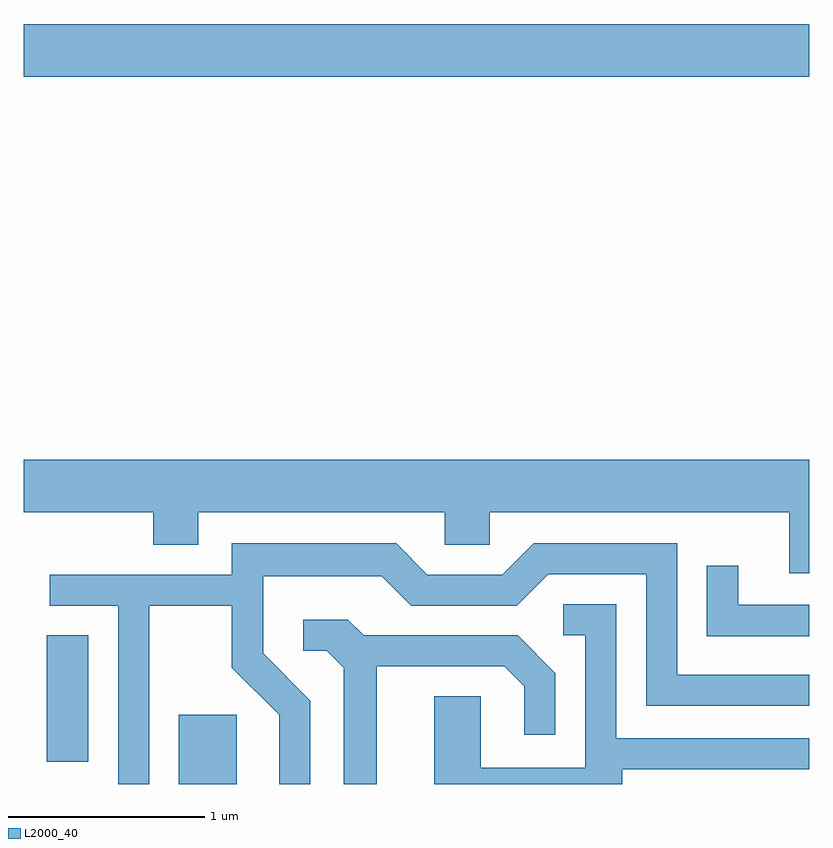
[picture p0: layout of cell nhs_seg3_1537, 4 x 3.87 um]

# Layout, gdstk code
import gdstk
lib = gdstk.Library(unit=1e-6, precision=1e-09)
def R(c, l, rs):  # rectangles x0, y0, x1, y1
    for r in rs: c.add(gdstk.rectangle(r[:2], r[2:], *l))
def P(c, l, *ps):  # polygons
    for p in ps: c.add(gdstk.Polygon(p, *l))
L2000_40 = (2000, 40)

nhs_seg3_1537 = lib.new_cell('nhs_seg3_1537')
R(nhs_seg3_1537, L2000_40, [(230.401,1197.892,230.694,1198.244), (229.726,1198.006,229.939,1198.649), (229.611,1201.496,233.611,1201.764)])
P(nhs_seg3_1537, L2000_40, [(229.611,1199.276),(230.271,1199.276),(230.271,1199.111),(230.499,1199.111),(230.499,1199.276),(231.756,1199.276),(231.756,1199.111),(231.984,1199.111),(231.984,1199.276),(233.511,1199.276),(233.511,1198.966),(233.611,1198.966),(233.611,1199.544),(229.611,1199.544)],
  [(230.249,1198.801),(230.671,1198.801),(230.671,1198.484),(230.911,1198.244),(230.911,1197.892),(231.069,1197.892),(231.069,1198.317),(230.829,1198.557),(230.829,1198.951),(231.434,1198.951),(231.584,1198.801),(232.122,1198.801),(232.282,1198.961),(232.781,1198.961),(232.781,1198.291),(233.611,1198.291),(233.611,1198.449),(232.939,1198.449),(232.939,1199.119),(232.209,1199.119),(232.049,1198.959),(231.667,1198.959),(231.507,1199.119),(230.671,1199.119),(230.671,1198.959),(229.743,1198.959),(229.743,1198.801),(230.091,1198.801),(230.091,1197.892),(230.249,1197.892)],
  [(233.611,1198.804),(233.249,1198.804),(233.249,1199.003),(233.091,1199.003),(233.091,1198.646),(233.611,1198.646)],
  [(232.659,1197.966),(233.611,1197.966),(233.611,1198.124),(232.629,1198.124),(232.629,1198.809),(232.358,1198.809),(232.358,1198.651),(232.471,1198.651),(232.471,1197.974),(231.939,1197.974),(231.939,1198.339),(231.701,1198.339),(231.701,1197.892),(232.659,1197.892)],
  [(231.409,1198.491),(232.059,1198.491),(232.161,1198.389),(232.161,1198.143),(232.319,1198.143),(232.319,1198.457),(232.127,1198.649),(231.342,1198.649),(231.262,1198.729),(231.033,1198.729),(231.033,1198.571),(231.154,1198.571),(231.241,1198.484),(231.241,1197.892),(231.409,1197.892)])

lib.write_gds('nhs_seg3_1537.gds')
